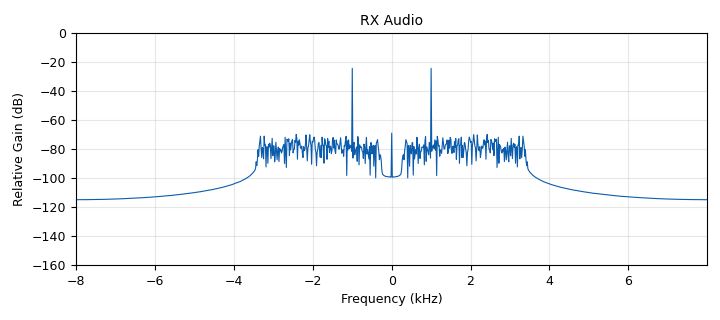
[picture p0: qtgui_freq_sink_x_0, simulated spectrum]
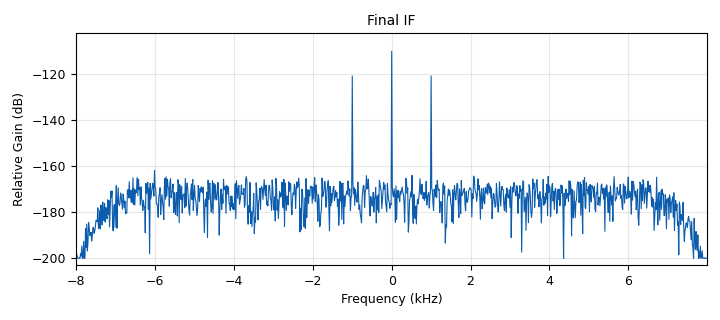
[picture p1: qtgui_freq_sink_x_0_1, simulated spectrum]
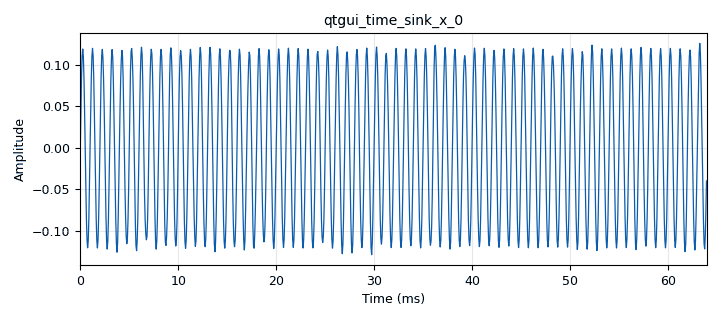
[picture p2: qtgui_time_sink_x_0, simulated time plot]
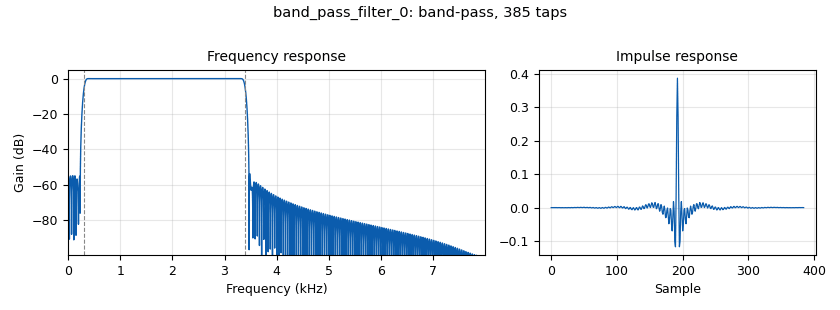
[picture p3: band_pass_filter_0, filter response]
options:
  parameters:
    category: Custom
    generate_options: qt_gui
    id: top_block
    output_language: python
  states: {}

blocks:
- name: Anoise
  id: variable
  parameters:
    value: 10**((-174.4+38.751+8)/20)
  states: {}
- name: Ptx_dBm
  id: variable_qtgui_range
  parameters:
    orient: Qt.Horizontal
    start: '-30'
    step: '1'
    stop: '50'
    value: '30'
  states: {}
- name: frx
  id: variable_qtgui_range
  parameters:
    orient: Qt.Horizontal
    start: 90e3
    step: .1e3
    stop: 110e3
    value: 100e3
  states: {}
- name: fs_audio
  id: variable
  parameters:
    value: '16000'
  states: {}
- name: ftx
  id: variable
  parameters:
    value: 100e3
  states: {}
- name: pathloss_dB
  id: variable
  parameters:
    value: '140'
  states: {}
- name: rx_decim
  id: variable
  parameters:
    value: samp_rate//fs_audio
  states: {}
- name: samp_rate
  id: variable
  parameters:
    value: '480000'
  states: {}
- name: snr
  id: variable_qtgui_label
  parameters:
    type: int
    value: snr_disp
  states: {}
- name: snr_disp
  id: variable_function_probe
  parameters:
    block_id: snr_est
    function_name: snr
    poll_rate: '2'
    value: '0'
  states: {}
- name: tonelevel_dB
  id: variable_qtgui_range
  parameters:
    orient: Qt.Horizontal
    start: '-40'
    step: '1'
    stop: '0'
    value: '-4.77'
  states: {}
- name: IQ_mixer
  id: blocks_multiply_xx
  parameters:
    type: complex
  states: {}
- name: TX_LO
  id: analog_sig_source_x
  parameters:
    amp: '1'
    freq: ftx
    offset: '0'
    phase: '0'
    samp_rate: samp_rate
    type: complex
    waveform: analog.GR_SIN_WAVE
  states: {}
- name: analog_agc2_xx_0
  id: analog_agc2_xx
  parameters:
    attack_rate: '1'
    decay_rate: '1'
    gain: '100'
    max_gain: '65535'
    reference: '1'
    type: complex
  states: {}
- name: analog_fastnoise_source_x_0
  id: analog_fastnoise_source_x
  parameters:
    amp: '1e-6'
    noise_type: analog.GR_IMPULSE
    samples: '8192'
    seed: '0'
    type: float
  states: {}
- name: audio_sink_0
  id: audio_sink
  parameters:
    samp_rate: '16000'
  states: {}
- name: band_pass_filter_0
  id: band_pass_filter
  parameters:
    decim: '1'
    gain: '1'
    high_cutoff_freq: '3400'
    low_cutoff_freq: '300'
    samp_rate: fs_audio
    type: fir_filter_fff
    width: '100'
    win: firdes.WIN_HAMMING
  states: {}
- name: blocks_complex_to_mag_0
  id: blocks_complex_to_mag
  parameters: {}
  states: {}
- name: blocks_float_to_complex_0_0
  id: blocks_float_to_complex
  parameters: {}
  states: {}
- name: blocks_multiply_xx_0_0
  id: blocks_multiply_xx
  parameters:
    type: complex
  states: {}
- name: channel_join
  id: blocks_add_xx
  parameters:
    num_inputs: '4'
    type: complex
  states: {}
- name: channels_fading_model_0
  id: channels_fading_model
  parameters:
    K: '4.0'
    LOS: 'True'
    N: '8'
    fDTs: 10.0/samp_rate
    seed: '0'
  states: {state: bypassed}
- name: interferer
  id: analog_sig_source_x
  parameters:
    amp: '0'
    freq: ftx
    offset: '0'
    phase: '0'
    samp_rate: samp_rate
    type: complex
    waveform: analog.GR_SIN_WAVE
  states: {}
- name: low_pass_filter_0
  id: low_pass_filter
  parameters:
    cutoff_freq: '3400'
    decim: '1'
    gain: '1'
    samp_rate: fs_audio
    type: fir_filter_fff
    width: '500'
    win: firdes.WIN_HAMMING
  states: {state: disabled}
- name: mod_real_to_complex
  id: blocks_float_to_complex
  parameters: {}
  states: {}
- name: mod_source
  id: analog_sig_source_x
  parameters:
    amp: 10**(tonelevel_dB/20.)
    freq: '1000'
    offset: '0'
    phase: '0'
    samp_rate: fs_audio
    type: float
    waveform: analog.GR_SIN_WAVE
  states: {}
- name: mod_upsample
  id: rational_resampler_xxx
  parameters:
    decim: '1'
    interp: '30'
    taps: ''
    type: ccc
  states: {}
- name: pathloss
  id: blocks_multiply_const_vxx
  parameters:
    const: '10**(-pathloss_dB/20.) '
    type: complex
  states: {}
- name: qtgui_freq_sink_x_0
  id: qtgui_freq_sink_x
  parameters:
    bw: fs_audio
    ctrlpanel: 'True'
    fc: '0'
    fftsize: '1024'
    grid: 'True'
    name: RX Audio
    showports: 'True'
    type: float
    wintype: firdes.WIN_RECTANGULAR
    ymax: '0'
    ymin: '-160'
  states: {}
- name: qtgui_freq_sink_x_0_1
  id: qtgui_freq_sink_x
  parameters:
    autoscale: 'True'
    bw: fs_audio
    fc: '0'
    fftsize: '1024'
    grid: 'True'
    name: Final IF
    showports: 'True'
    type: complex
    wintype: firdes.WIN_RECTANGULAR
    ymax: '0'
    ymin: '-160'
  states: {}
- name: qtgui_time_sink_x_0
  id: qtgui_time_sink_x
  parameters:
    autoscale: 'True'
    ctrlpanel: 'True'
    grid: 'True'
    label1: ''
    size: '1024'
    srate: fs_audio
    type: float
  states: {}
- name: qtgui_time_sink_x_0_0
  id: qtgui_time_sink_x
  parameters:
    autoscale: 'True'
    ctrlpanel: 'True'
    grid: 'True'
    label1: ''
    label2: ''
    size: '1024'
    srate: samp_rate
    type: complex
  states: {state: disabled}
- name: rational_resampler_xxx_0
  id: rational_resampler_xxx
  parameters:
    decim: rx_decim
    interp: '1'
    taps: ''
    type: ccc
  states: {}
- name: rx_lo
  id: analog_sig_source_x
  parameters:
    amp: '1'
    freq: '-frx'
    offset: '0'
    phase: '0'
    samp_rate: samp_rate
    type: complex
    waveform: analog.GR_SIN_WAVE
  states: {}
- name: snr_est
  id: digital_probe_mpsk_snr_est_c
  parameters:
    alpha: '0.001'
    msg_nsamples: samp_rate//10
    type: '3'
  states: {}
- name: thermal_noise
  id: analog_noise_source_x
  parameters:
    amp: '0'
    noise_type: analog.GR_GAUSSIAN
    seed: '0'
    type: complex
  states: {}
- name: transmit_amplifier
  id: blocks_multiply_const_vxx
  parameters:
    const: '10**(Ptx_dBm/20.) '
    type: complex
  states: {}
- name: tx_carrier_level
  id: blocks_add_const_vxx
  parameters:
    const: '1'
    type: float
  states: {}

connections:
- [IQ_mixer, '0', transmit_amplifier, '0']
- [TX_LO, '0', IQ_mixer, '0']
- [analog_agc2_xx_0, '0', blocks_complex_to_mag_0, '0']
- [analog_fastnoise_source_x_0, '0', blocks_float_to_complex_0_0, '0']
- [band_pass_filter_0, '0', audio_sink_0, '0']
- [band_pass_filter_0, '0', qtgui_freq_sink_x_0, '0']
- [band_pass_filter_0, '0', qtgui_time_sink_x_0, '0']
- [blocks_complex_to_mag_0, '0', band_pass_filter_0, '0']
- [blocks_complex_to_mag_0, '0', low_pass_filter_0, '0']
- [blocks_float_to_complex_0_0, '0', channel_join, '3']
- [blocks_float_to_complex_0_0, '0', qtgui_time_sink_x_0_0, '0']
- [blocks_multiply_xx_0_0, '0', rational_resampler_xxx_0, '0']
- [channel_join, '0', blocks_multiply_xx_0_0, '0']
- [channels_fading_model_0, '0', channel_join, '1']
- [interferer, '0', channel_join, '0']
- [low_pass_filter_0, '0', audio_sink_0, '0']
- [low_pass_filter_0, '0', qtgui_freq_sink_x_0, '0']
- [low_pass_filter_0, '0', qtgui_time_sink_x_0, '0']
- [mod_real_to_complex, '0', mod_upsample, '0']
- [mod_source, '0', tx_carrier_level, '0']
- [mod_upsample, '0', IQ_mixer, '1']
- [pathloss, '0', channels_fading_model_0, '0']
- [rational_resampler_xxx_0, '0', analog_agc2_xx_0, '0']
- [rational_resampler_xxx_0, '0', qtgui_freq_sink_x_0_1, '0']
- [rational_resampler_xxx_0, '0', snr_est, '0']
- [rx_lo, '0', blocks_multiply_xx_0_0, '1']
- [thermal_noise, '0', channel_join, '2']
- [transmit_amplifier, '0', pathloss, '0']
- [tx_carrier_level, '0', mod_real_to_complex, '0']

metadata:
  file_format: 1
